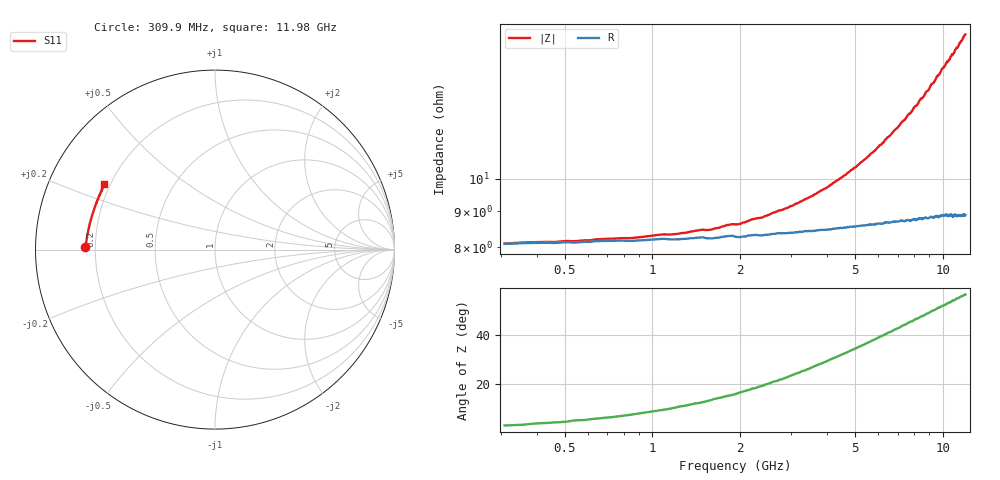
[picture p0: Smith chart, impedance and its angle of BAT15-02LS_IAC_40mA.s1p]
! Infineon Technologies  Discrete & RF Semiconductors
! BAT15-02ELS
! IAC = 40 mA
! One-Port S-Parameters
# Hz  S  MA  R  50
!f  S11
!Hz  Mag  Ang
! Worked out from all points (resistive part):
!   468 points, 309.9 MHz to 11.98 GHz, reference 50 ohm
!   read as one part to ground: R = 8.11 ohm at 359.8 MHz
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3.0985e8  0.7216 178.9
1.784112e9  0.7163 174.7
2.033988e9  0.7167 174.1
3.233388e9  0.7135 170.8
4.70765e9  0.7113 166.9
6.156925e9  0.7105 163.3
7.431288e9  0.7103 160.2
7.6062e9  0.7101 159.7
7.831088e9  0.7106 159.3
8.030988e9  0.7101 158.7
8.2059e9  0.7106 158.3
8.380812e9  0.7101 157.8
8.6057e9  0.7107 157.4
8.780612e9  0.7105 156.8
8.930538e9  0.7111 156.6
9.080462e9  0.7106 156.2
9.730138e9  0.7116 154.7
9.980012e9  0.7114 153.9
1.017991e10  0.7118 153.5
1.037981e10  0.7117 153.0
1.052974e10  0.7126 152.7
1.075462e10  0.7125 152.1
1.095452e10  0.714 151.8
1.112944e10  0.7137 151.2
1.127936e10  0.7143 151.0
1.145428e10  0.7146 150.5
1.187906e10  0.7156 149.5
1.197901e10  0.7159 149.3
